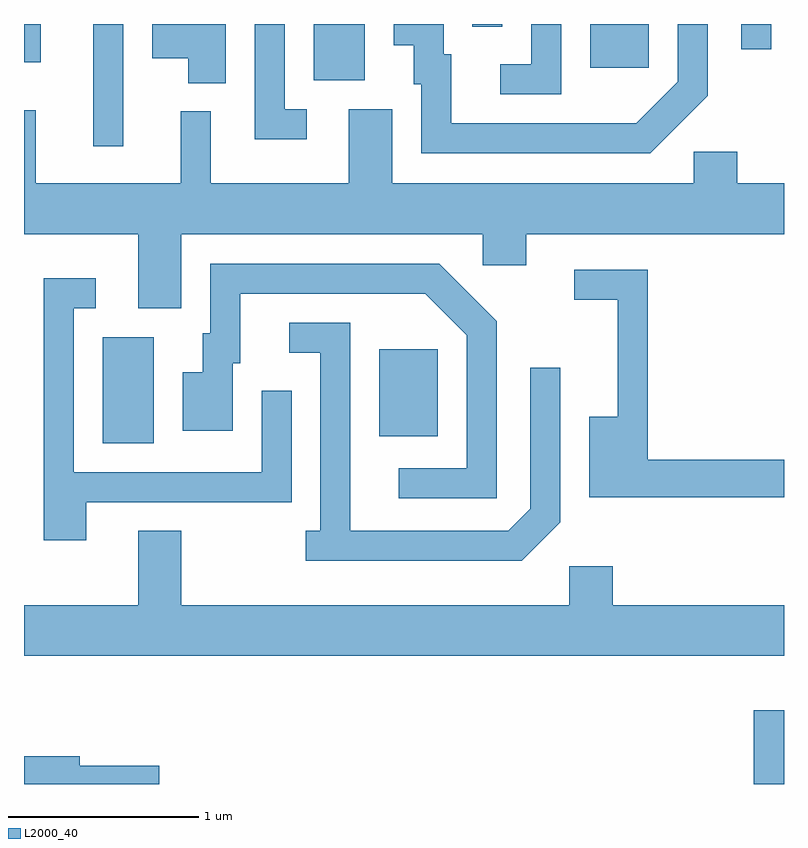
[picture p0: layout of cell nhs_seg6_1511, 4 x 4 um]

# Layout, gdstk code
import gdstk
lib = gdstk.Library(unit=1e-6, precision=1e-09)
def R(c, l, rs):  # rectangles x0, y0, x1, y1
    for r in rs: c.add(gdstk.rectangle(r[:2], r[2:], *l))
def P(c, l, *ps):  # polygons
    for p in ps: c.add(gdstk.Polygon(p, *l))
L2000_40 = (2000, 40)

nhs_seg6_1511 = lib.new_cell('nhs_seg6_1511')
R(nhs_seg6_1511, L2000_40, [(233.451,1638.162,233.611,1638.549), (230.026,1639.956,230.294,1640.514), (231.481,1639.991,231.789,1640.449), (229.976,1641.518,230.134,1642.162), (231.136,1641.866,231.404,1642.162), (232.591,1641.931,232.899,1642.162), (229.611,1641.961,229.699,1642.162), (233.386,1642.028,233.544,1642.162), (231.971,1642.148,232.129,1642.162)])
P(nhs_seg6_1511, L2000_40, [(230.674,1642.162),(230.286,1642.162),(230.286,1641.981),(230.476,1641.981),(230.476,1641.851),(230.674,1641.851)],
  [(233.209,1641.784),(233.209,1642.162),(233.051,1642.162),(233.051,1641.857),(232.834,1641.639),(231.859,1641.639),(231.859,1642.004),(231.819,1642.004),(231.819,1642.162),(231.556,1642.162),(231.556,1642.051),(231.661,1642.051),(231.661,1641.846),(231.701,1641.846),(231.701,1641.481),(232.907,1641.481)],
  [(232.439,1642.162),(232.281,1642.162),(232.281,1641.949),(232.118,1641.949),(232.118,1641.791),(232.439,1641.791)],
  [(231.098,1641.714),(230.984,1641.714),(230.984,1642.162),(230.826,1642.162),(230.826,1641.556),(231.098,1641.556)],
  [(230.439,1641.056),(232.026,1641.056),(232.026,1640.891),(232.254,1640.891),(232.254,1641.056),(233.611,1641.056),(233.611,1641.324),(233.364,1641.324),(233.364,1641.489),(233.136,1641.489),(233.136,1641.324),(231.549,1641.324),(231.549,1641.714),(231.321,1641.714),(231.321,1641.324),(230.594,1641.324),(230.594,1641.703),(230.436,1641.703),(230.436,1641.324),(229.674,1641.324),(229.674,1641.708),(229.611,1641.708),(229.611,1641.056),(230.211,1641.056),(230.211,1640.666),(230.439,1640.666)],
  [(232.099,1640.597),(231.797,1640.899),(230.591,1640.899),(230.591,1640.534),(230.551,1640.534),(230.551,1640.329),(230.446,1640.329),(230.446,1640.021),(230.709,1640.021),(230.709,1640.376),(230.749,1640.376),(230.749,1640.741),(231.724,1640.741),(231.941,1640.524),(231.941,1639.824),(231.583,1639.824),(231.583,1639.666),(232.099,1639.666)],
  [(233.611,1639.869),(232.894,1639.869),(232.894,1640.869),(232.508,1640.869),(232.508,1640.711),(232.736,1640.711),(232.736,1640.094),(232.586,1640.094),(232.586,1639.671),(233.611,1639.671)],
  [(229.939,1639.646),(231.019,1639.646),(231.019,1640.233),(230.861,1640.233),(230.861,1639.804),(229.874,1639.804),(229.874,1640.666),(229.988,1640.666),(229.988,1640.824),(229.716,1640.824),(229.716,1639.446),(229.939,1639.446)],
  [(232.434,1639.539),(232.434,1640.353),(232.276,1640.353),(232.276,1639.612),(232.159,1639.494),(231.329,1639.494),(231.329,1640.589),(231.008,1640.589),(231.008,1640.431),(231.171,1640.431),(231.171,1639.494),(231.093,1639.494),(231.093,1639.336),(232.232,1639.336)],
  [(233.611,1639.104),(232.709,1639.104),(232.709,1639.309),(232.481,1639.309),(232.481,1639.104),(230.439,1639.104),(230.439,1639.494),(230.211,1639.494),(230.211,1639.104),(229.611,1639.104),(229.611,1638.836),(233.611,1638.836)],
  [(230.324,1638.259),(229.904,1638.259),(229.904,1638.309),(229.611,1638.309),(229.611,1638.162),(230.324,1638.162)])

lib.write_gds('nhs_seg6_1511.gds')
